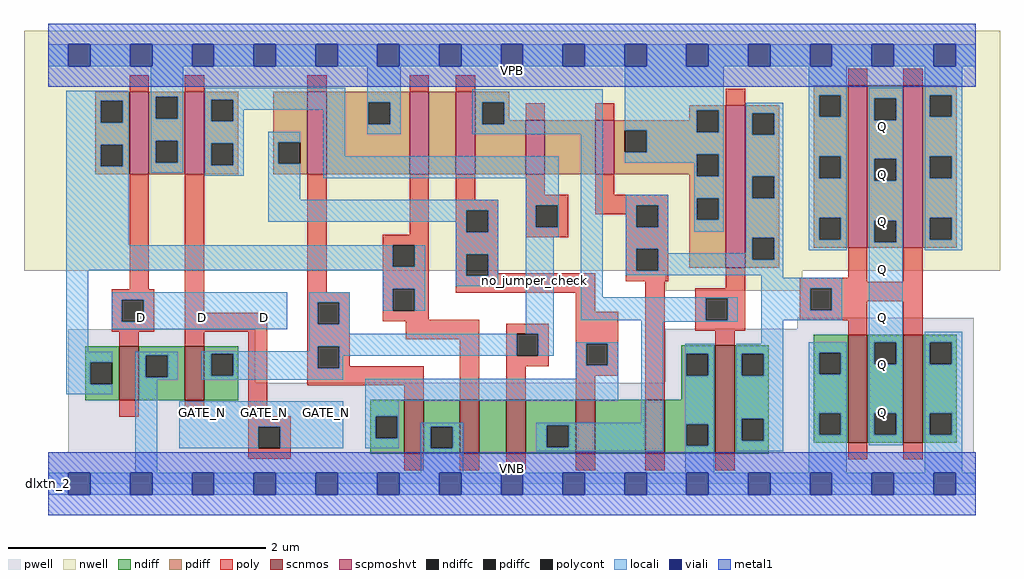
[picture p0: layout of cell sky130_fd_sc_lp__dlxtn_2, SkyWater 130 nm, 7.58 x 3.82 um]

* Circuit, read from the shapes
.subckt sky130_fd_sc_lp__dlxtn_2 D GATE_N VGND VNB VPB VPWR Q
XM1 VGND D n1 VNB sky130_fd_pr__nfet_01v8 w=0.42 l=0.15
XM2 n2 GATE_N VGND VNB sky130_fd_pr__nfet_01v8 w=0.42 l=0.15
XM3 VGND n2 n3 VNB sky130_fd_pr__nfet_01v8 w=0.42 l=0.15
XM4 n4 n1 VGND VNB sky130_fd_pr__nfet_01v8 w=0.42 l=0.15
XM5 n5 n2 n4 VNB sky130_fd_pr__nfet_01v8 w=0.42 l=0.15
XM6 n6 n3 n5 VNB sky130_fd_pr__nfet_01v8 w=0.42 l=0.15
XM7 VGND n7 n6 VNB sky130_fd_pr__nfet_01v8 w=0.42 l=0.15
XM8 n7 n5 VGND VNB sky130_fd_pr__nfet_01v8 w=0.84 l=0.15
XM9 Q n7 VGND VNB sky130_fd_pr__nfet_01v8 w=0.84 l=0.15 m=2
XM10 VPWR D n1 VPB sky130_fd_pr__pfet_01v8_hvt w=0.64 l=0.15
XM11 n2 GATE_N VPWR VPB sky130_fd_pr__pfet_01v8_hvt w=0.64 l=0.15
XM12 VPWR n2 n3 VPB sky130_fd_pr__pfet_01v8_hvt w=0.64 l=0.15
XM13 n8 n1 VPWR VPB sky130_fd_pr__pfet_01v8_hvt w=0.64 l=0.15
XM14 n5 n3 n8 VPB sky130_fd_pr__pfet_01v8_hvt w=0.64 l=0.15
XM15 n9 n2 n5 VPB sky130_fd_pr__pfet_01v8_hvt w=0.42 l=0.15
XM16 VPWR n7 n9 VPB sky130_fd_pr__pfet_01v8_hvt w=0.42 l=0.15
XM17 n7 n5 VPWR VPB sky130_fd_pr__pfet_01v8_hvt w=1.26 l=0.15
XM18 Q n7 VPWR VPB sky130_fd_pr__pfet_01v8_hvt w=1.26 l=0.15 m=2
.ends

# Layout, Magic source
magic
tech sky130A
magscale 1 2
<< nwell >>
rect -38 331 1478 704
rect 959 300 1171 331
<< pwell >>
rect 1163 241 1437 258
rect 31 157 321 240
rect 957 157 1437 241
rect 31 49 1437 157
rect 0 0 1440 49
<< scnmos >>
rect 110 130 140 214
rect 212 130 242 214
rect 553 47 583 131
rect 639 47 669 131
rect 711 47 741 131
rect 819 47 849 131
rect 927 47 957 131
rect 1036 47 1066 215
rect 1242 64 1272 232
rect 1328 64 1358 232
<< scpmoshvt >>
rect 126 481 156 609
rect 212 481 242 609
rect 402 481 432 609
rect 561 481 591 609
rect 633 481 663 609
rect 741 481 771 565
rect 849 481 879 565
rect 1052 336 1082 588
rect 1242 367 1272 619
rect 1328 367 1358 619
<< ndiff >>
rect 57 189 110 214
rect 57 155 65 189
rect 99 155 110 189
rect 57 130 110 155
rect 140 200 212 214
rect 140 166 151 200
rect 185 166 212 200
rect 140 130 212 166
rect 242 202 295 214
rect 242 168 253 202
rect 287 168 295 202
rect 242 130 295 168
rect 983 202 1036 215
rect 983 168 991 202
rect 1025 168 1036 202
rect 983 131 1036 168
rect 500 105 553 131
rect 500 71 508 105
rect 542 71 553 105
rect 500 47 553 71
rect 583 89 639 131
rect 583 55 594 89
rect 628 55 639 89
rect 583 47 639 55
rect 669 47 711 131
rect 741 91 819 131
rect 741 57 774 91
rect 808 57 819 91
rect 741 47 819 57
rect 849 47 927 131
rect 957 93 1036 131
rect 957 59 991 93
rect 1025 59 1036 93
rect 957 47 1036 59
rect 1066 202 1119 215
rect 1066 168 1077 202
rect 1111 168 1119 202
rect 1066 101 1119 168
rect 1066 67 1077 101
rect 1111 67 1119 101
rect 1066 47 1119 67
rect 1189 204 1242 232
rect 1189 170 1197 204
rect 1231 170 1242 204
rect 1189 110 1242 170
rect 1189 76 1197 110
rect 1231 76 1242 110
rect 1189 64 1242 76
rect 1272 220 1328 232
rect 1272 186 1283 220
rect 1317 186 1328 220
rect 1272 110 1328 186
rect 1272 76 1283 110
rect 1317 76 1328 110
rect 1272 64 1328 76
rect 1358 220 1411 232
rect 1358 186 1369 220
rect 1403 186 1411 220
rect 1358 110 1411 186
rect 1358 76 1369 110
rect 1403 76 1411 110
rect 1358 64 1411 76
<< pdiff >>
rect 73 595 126 609
rect 73 561 81 595
rect 115 561 126 595
rect 73 527 126 561
rect 73 493 81 527
rect 115 493 126 527
rect 73 481 126 493
rect 156 601 212 609
rect 156 567 167 601
rect 201 567 212 601
rect 156 533 212 567
rect 156 499 167 533
rect 201 499 212 533
rect 156 481 212 499
rect 242 597 295 609
rect 242 563 253 597
rect 287 563 295 597
rect 242 529 295 563
rect 242 495 253 529
rect 287 495 295 529
rect 242 481 295 495
rect 349 531 402 609
rect 349 497 357 531
rect 391 497 402 531
rect 349 481 402 497
rect 432 593 561 609
rect 432 559 497 593
rect 531 559 561 593
rect 432 481 561 559
rect 591 481 633 609
rect 663 593 716 609
rect 663 559 674 593
rect 708 565 716 593
rect 1189 604 1242 619
rect 995 580 1052 588
rect 995 565 1007 580
rect 708 559 741 565
rect 663 481 741 559
rect 771 481 849 565
rect 879 549 1007 565
rect 879 515 895 549
rect 929 546 1007 549
rect 1041 546 1052 580
rect 929 515 1052 546
rect 879 512 1052 515
rect 879 481 1007 512
rect 995 478 1007 481
rect 1041 478 1052 512
rect 995 444 1052 478
rect 995 410 1007 444
rect 1041 410 1052 444
rect 995 336 1052 410
rect 1082 576 1135 588
rect 1082 542 1093 576
rect 1127 542 1135 576
rect 1082 478 1135 542
rect 1082 444 1093 478
rect 1127 444 1135 478
rect 1082 382 1135 444
rect 1082 348 1093 382
rect 1127 348 1135 382
rect 1189 570 1197 604
rect 1231 570 1242 604
rect 1189 509 1242 570
rect 1189 475 1197 509
rect 1231 475 1242 509
rect 1189 413 1242 475
rect 1189 379 1197 413
rect 1231 379 1242 413
rect 1189 367 1242 379
rect 1272 599 1328 619
rect 1272 565 1283 599
rect 1317 565 1328 599
rect 1272 505 1328 565
rect 1272 471 1283 505
rect 1317 471 1328 505
rect 1272 409 1328 471
rect 1272 375 1283 409
rect 1317 375 1328 409
rect 1272 367 1328 375
rect 1358 604 1411 619
rect 1358 570 1369 604
rect 1403 570 1411 604
rect 1358 509 1411 570
rect 1358 475 1369 509
rect 1403 475 1411 509
rect 1358 413 1411 475
rect 1358 379 1369 413
rect 1403 379 1411 413
rect 1358 367 1411 379
rect 1082 336 1135 348
<< ndiffc >>
rect 65 155 99 189
rect 151 166 185 200
rect 253 168 287 202
rect 991 168 1025 202
rect 508 71 542 105
rect 594 55 628 89
rect 774 57 808 91
rect 991 59 1025 93
rect 1077 168 1111 202
rect 1077 67 1111 101
rect 1197 170 1231 204
rect 1197 76 1231 110
rect 1283 186 1317 220
rect 1283 76 1317 110
rect 1369 186 1403 220
rect 1369 76 1403 110
<< pdiffc >>
rect 81 561 115 595
rect 81 493 115 527
rect 167 567 201 601
rect 167 499 201 533
rect 253 563 287 597
rect 253 495 287 529
rect 357 497 391 531
rect 497 559 531 593
rect 674 559 708 593
rect 895 515 929 549
rect 1007 546 1041 580
rect 1007 478 1041 512
rect 1007 410 1041 444
rect 1093 542 1127 576
rect 1093 444 1127 478
rect 1093 348 1127 382
rect 1197 570 1231 604
rect 1197 475 1231 509
rect 1197 379 1231 413
rect 1283 565 1317 599
rect 1283 471 1317 505
rect 1283 375 1317 409
rect 1369 570 1403 604
rect 1369 475 1403 509
rect 1369 379 1403 413
<< poly >>
rect 126 609 156 635
rect 212 609 242 635
rect 402 609 432 635
rect 561 609 591 635
rect 633 609 663 635
rect 1242 619 1272 645
rect 1328 619 1358 645
rect 741 565 771 591
rect 849 565 879 591
rect 1052 588 1082 614
rect 126 302 156 481
rect 98 286 164 302
rect 98 252 114 286
rect 148 252 164 286
rect 98 236 164 252
rect 212 266 242 481
rect 402 298 432 481
rect 561 387 591 481
rect 519 371 591 387
rect 519 337 535 371
rect 569 337 591 371
rect 519 303 591 337
rect 402 282 468 298
rect 212 236 340 266
rect 110 214 140 236
rect 212 214 242 236
rect 110 104 140 130
rect 212 104 242 130
rect 310 105 340 236
rect 402 248 418 282
rect 452 248 468 282
rect 519 269 535 303
rect 569 269 591 303
rect 633 441 663 481
rect 741 449 771 481
rect 849 449 879 481
rect 633 425 699 441
rect 633 391 649 425
rect 683 391 699 425
rect 633 357 699 391
rect 741 433 807 449
rect 741 399 757 433
rect 791 399 807 433
rect 849 433 963 449
rect 849 419 913 433
rect 741 383 807 399
rect 897 399 913 419
rect 947 399 963 433
rect 633 323 649 357
rect 683 327 699 357
rect 897 365 963 399
rect 897 331 913 365
rect 947 331 963 365
rect 683 323 849 327
rect 633 297 849 323
rect 897 315 963 331
rect 519 255 591 269
rect 819 267 849 297
rect 519 253 669 255
rect 402 214 468 248
rect 555 225 669 253
rect 402 180 418 214
rect 452 183 468 214
rect 452 180 583 183
rect 402 153 583 180
rect 553 131 583 153
rect 639 131 669 225
rect 711 233 777 249
rect 711 199 727 233
rect 761 199 777 233
rect 711 183 777 199
rect 819 218 885 267
rect 819 184 835 218
rect 869 184 885 218
rect 711 131 741 183
rect 819 168 885 184
rect 819 131 849 168
rect 927 131 957 315
rect 1052 304 1082 336
rect 1242 320 1272 367
rect 1005 288 1082 304
rect 1005 254 1021 288
rect 1055 254 1082 288
rect 1167 314 1272 320
rect 1328 314 1358 367
rect 1167 304 1358 314
rect 1167 270 1183 304
rect 1217 284 1358 304
rect 1217 270 1272 284
rect 1167 254 1272 270
rect 1005 238 1082 254
rect 1036 215 1066 238
rect 1242 232 1272 254
rect 1328 232 1358 284
rect 310 89 376 105
rect 310 55 326 89
rect 360 55 376 89
rect 310 39 376 55
rect 553 21 583 47
rect 639 21 669 47
rect 711 21 741 47
rect 819 21 849 47
rect 927 21 957 47
rect 1036 21 1066 47
rect 1242 38 1272 64
rect 1328 38 1358 64
<< polycont >>
rect 114 252 148 286
rect 535 337 569 371
rect 418 248 452 282
rect 535 269 569 303
rect 649 391 683 425
rect 757 399 791 433
rect 913 399 947 433
rect 649 323 683 357
rect 913 331 947 365
rect 418 180 452 214
rect 727 199 761 233
rect 835 184 869 218
rect 1021 254 1055 288
rect 1183 270 1217 304
rect 326 55 360 89
<< locali >>
rect 0 649 31 683
rect 65 649 127 683
rect 161 649 223 683
rect 257 649 319 683
rect 353 649 415 683
rect 449 649 511 683
rect 545 649 607 683
rect 641 649 703 683
rect 737 649 799 683
rect 833 649 895 683
rect 929 649 991 683
rect 1025 649 1087 683
rect 1121 649 1183 683
rect 1217 649 1279 683
rect 1313 649 1375 683
rect 1409 649 1440 683
rect 28 595 125 611
rect 28 561 81 595
rect 115 561 125 595
rect 28 527 125 561
rect 28 493 81 527
rect 115 493 125 527
rect 28 371 125 493
rect 159 601 209 649
rect 159 567 167 601
rect 201 567 209 601
rect 159 533 209 567
rect 159 499 167 533
rect 201 499 209 533
rect 159 483 209 499
rect 243 597 461 615
rect 243 563 253 597
rect 287 581 461 597
rect 287 563 303 581
rect 243 529 303 563
rect 243 495 253 529
rect 287 495 303 529
rect 243 479 303 495
rect 341 531 391 547
rect 341 497 357 531
rect 341 441 391 497
rect 427 509 461 581
rect 495 593 547 649
rect 495 559 497 593
rect 531 559 547 593
rect 495 543 547 559
rect 658 593 861 613
rect 658 559 674 593
rect 708 559 861 593
rect 658 543 861 559
rect 427 475 793 509
rect 341 425 699 441
rect 341 407 649 425
rect 633 391 649 407
rect 683 391 699 425
rect 28 337 535 371
rect 569 337 585 371
rect 28 332 585 337
rect 28 205 62 332
rect 519 303 585 332
rect 633 357 699 391
rect 633 323 649 357
rect 683 323 699 357
rect 633 307 699 323
rect 741 433 793 475
rect 741 399 757 433
rect 791 399 793 433
rect 741 383 793 399
rect 98 286 371 298
rect 98 252 114 286
rect 148 252 371 286
rect 98 240 371 252
rect 405 282 468 298
rect 405 248 418 282
rect 452 248 468 282
rect 519 269 535 303
rect 569 269 585 303
rect 405 233 468 248
rect 741 233 785 383
rect 827 290 861 543
rect 895 580 1049 649
rect 1181 604 1240 649
rect 895 549 1007 580
rect 929 546 1007 549
rect 1041 546 1049 580
rect 929 515 1049 546
rect 895 512 1049 515
rect 895 499 1007 512
rect 1003 478 1007 499
rect 1041 478 1049 512
rect 897 433 963 449
rect 897 399 913 433
rect 947 399 963 433
rect 897 365 963 399
rect 1003 444 1049 478
rect 1003 410 1007 444
rect 1041 410 1049 444
rect 1003 392 1049 410
rect 1083 576 1141 592
rect 1083 542 1093 576
rect 1127 542 1141 576
rect 1083 478 1141 542
rect 1083 444 1093 478
rect 1127 444 1141 478
rect 897 331 913 365
rect 947 358 963 365
rect 1083 382 1141 444
rect 1083 358 1093 382
rect 947 348 1093 358
rect 1127 348 1141 382
rect 1181 570 1197 604
rect 1231 570 1240 604
rect 1181 509 1240 570
rect 1181 475 1197 509
rect 1231 475 1240 509
rect 1181 413 1240 475
rect 1181 379 1197 413
rect 1231 379 1240 413
rect 1181 363 1240 379
rect 1274 599 1327 615
rect 1274 565 1283 599
rect 1317 565 1327 599
rect 1274 505 1327 565
rect 1274 471 1283 505
rect 1317 471 1327 505
rect 1274 409 1327 471
rect 1274 375 1283 409
rect 1317 375 1327 409
rect 947 331 1141 348
rect 897 324 1141 331
rect 1107 320 1141 324
rect 1107 304 1233 320
rect 827 288 1071 290
rect 827 254 1021 288
rect 1055 254 1071 288
rect 405 214 727 233
rect 405 206 418 214
rect 28 189 99 205
rect 28 155 65 189
rect 28 139 99 155
rect 135 200 201 205
rect 135 166 151 200
rect 185 166 201 200
rect 135 162 201 166
rect 237 202 418 206
rect 237 168 253 202
rect 287 180 418 202
rect 452 199 727 214
rect 761 199 785 233
rect 921 252 1071 254
rect 1107 270 1183 304
rect 1217 270 1233 304
rect 1107 254 1233 270
rect 819 218 885 220
rect 452 180 458 199
rect 287 168 458 180
rect 237 162 458 168
rect 819 184 835 218
rect 869 184 885 218
rect 819 163 885 184
rect 135 17 169 162
rect 492 129 885 163
rect 203 89 458 128
rect 203 55 326 89
rect 360 55 458 89
rect 492 105 544 129
rect 492 71 508 105
rect 542 71 544 105
rect 921 95 955 252
rect 1107 218 1141 254
rect 1274 220 1327 375
rect 1361 604 1419 649
rect 1361 570 1369 604
rect 1403 570 1419 604
rect 1361 509 1419 570
rect 1361 475 1369 509
rect 1403 475 1419 509
rect 1361 413 1419 475
rect 1361 379 1369 413
rect 1403 379 1419 413
rect 1361 363 1419 379
rect 492 55 544 71
rect 578 89 644 95
rect 578 55 594 89
rect 628 55 644 89
rect 578 17 644 55
rect 758 91 955 95
rect 758 57 774 91
rect 808 57 955 91
rect 758 51 955 57
rect 989 202 1034 218
rect 989 168 991 202
rect 1025 168 1034 202
rect 989 93 1034 168
rect 989 59 991 93
rect 1025 59 1034 93
rect 989 17 1034 59
rect 1068 202 1141 218
rect 1068 168 1077 202
rect 1111 168 1141 202
rect 1068 101 1141 168
rect 1068 67 1077 101
rect 1111 67 1141 101
rect 1068 51 1141 67
rect 1181 204 1240 220
rect 1181 170 1197 204
rect 1231 170 1240 204
rect 1181 110 1240 170
rect 1181 76 1197 110
rect 1231 76 1240 110
rect 1181 17 1240 76
rect 1274 186 1283 220
rect 1317 186 1327 220
rect 1274 110 1327 186
rect 1274 76 1283 110
rect 1317 76 1327 110
rect 1274 60 1327 76
rect 1361 220 1419 236
rect 1361 186 1369 220
rect 1403 186 1419 220
rect 1361 110 1419 186
rect 1361 76 1369 110
rect 1403 76 1419 110
rect 1361 17 1419 76
rect 0 -17 31 17
rect 65 -17 127 17
rect 161 -17 223 17
rect 257 -17 319 17
rect 353 -17 415 17
rect 449 -17 511 17
rect 545 -17 607 17
rect 641 -17 703 17
rect 737 -17 799 17
rect 833 -17 895 17
rect 929 -17 991 17
rect 1025 -17 1087 17
rect 1121 -17 1183 17
rect 1217 -17 1279 17
rect 1313 -17 1375 17
rect 1409 -17 1440 17
<< viali >>
rect 31 649 65 683
rect 127 649 161 683
rect 223 649 257 683
rect 319 649 353 683
rect 415 649 449 683
rect 511 649 545 683
rect 607 649 641 683
rect 703 649 737 683
rect 799 649 833 683
rect 895 649 929 683
rect 991 649 1025 683
rect 1087 649 1121 683
rect 1183 649 1217 683
rect 1279 649 1313 683
rect 1375 649 1409 683
rect 31 -17 65 17
rect 127 -17 161 17
rect 223 -17 257 17
rect 319 -17 353 17
rect 415 -17 449 17
rect 511 -17 545 17
rect 607 -17 641 17
rect 703 -17 737 17
rect 799 -17 833 17
rect 895 -17 929 17
rect 991 -17 1025 17
rect 1087 -17 1121 17
rect 1183 -17 1217 17
rect 1279 -17 1313 17
rect 1375 -17 1409 17
<< metal1 >>
rect 0 683 1440 715
rect 0 649 31 683
rect 65 649 127 683
rect 161 649 223 683
rect 257 649 319 683
rect 353 649 415 683
rect 449 649 511 683
rect 545 649 607 683
rect 641 649 703 683
rect 737 649 799 683
rect 833 649 895 683
rect 929 649 991 683
rect 1025 649 1087 683
rect 1121 649 1183 683
rect 1217 649 1279 683
rect 1313 649 1375 683
rect 1409 649 1440 683
rect 0 617 1440 649
rect 0 17 1440 49
rect 0 -17 31 17
rect 65 -17 127 17
rect 161 -17 223 17
rect 257 -17 319 17
rect 353 -17 415 17
rect 449 -17 511 17
rect 545 -17 607 17
rect 641 -17 703 17
rect 737 -17 799 17
rect 833 -17 895 17
rect 929 -17 991 17
rect 1025 -17 1087 17
rect 1121 -17 1183 17
rect 1217 -17 1279 17
rect 1313 -17 1375 17
rect 1409 -17 1440 17
rect 0 -49 1440 -17
<< labels >>
flabel pwell s 0 0 1440 49 0 FreeSans 200 0 0 0 VNB
port 4 nsew ground bidirectional
flabel nwell s 0 617 1440 666 0 FreeSans 200 0 0 0 VPB
port 5 nsew power bidirectional
rlabel comment s 0 0 0 0 4 dlxtn_2
flabel comment s 755 316 755 316 0 FreeSans 200 0 0 0 no_jumper_check
flabel metal1 s 0 617 1440 666 0 FreeSans 340 0 0 0 VPWR
port 6 nsew power bidirectional
flabel metal1 s 0 0 1440 49 0 FreeSans 340 0 0 0 VGND
port 3 nsew ground bidirectional
flabel locali s 127 242 161 276 0 FreeSans 340 0 0 0 D
port 1 nsew signal input
flabel locali s 223 242 257 276 0 FreeSans 340 0 0 0 D
port 1 nsew signal input
flabel locali s 319 242 353 276 0 FreeSans 340 0 0 0 D
port 1 nsew signal input
flabel locali s 223 94 257 128 0 FreeSans 340 0 0 0 GATE_N
port 2 nsew clock input
flabel locali s 319 94 353 128 0 FreeSans 340 0 0 0 GATE_N
port 2 nsew clock input
flabel locali s 415 94 449 128 0 FreeSans 340 0 0 0 GATE_N
port 2 nsew clock input
flabel locali s 1279 94 1313 128 0 FreeSans 340 0 0 0 Q
port 7 nsew signal output
flabel locali s 1279 168 1313 202 0 FreeSans 340 0 0 0 Q
port 7 nsew signal output
flabel locali s 1279 242 1313 276 0 FreeSans 340 0 0 0 Q
port 7 nsew signal output
flabel locali s 1279 316 1313 350 0 FreeSans 340 0 0 0 Q
port 7 nsew signal output
flabel locali s 1279 390 1313 424 0 FreeSans 340 0 0 0 Q
port 7 nsew signal output
flabel locali s 1279 464 1313 498 0 FreeSans 340 0 0 0 Q
port 7 nsew signal output
flabel locali s 1279 538 1313 572 0 FreeSans 340 0 0 0 Q
port 7 nsew signal output
<< properties >>
string LEFsite unit
string LEFclass CORE
string FIXED_BBOX 0 0 1440 666
string GDS_FILE $PDKPATH/libs.ref/sky130_fd_sc_lp/gds/sky130_fd_sc_lp.gds
string LEFsymmetry X Y R90
string GDS_END 638314
string GDS_START 626158
<< end >>
